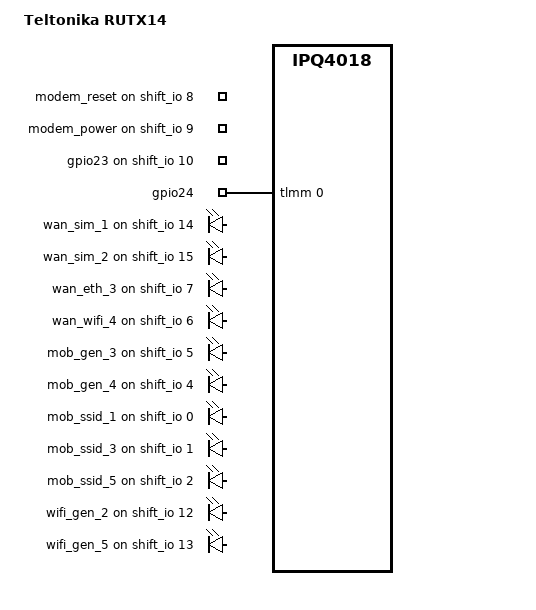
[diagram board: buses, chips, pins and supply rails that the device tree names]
#include "qcom-ipq4018-rutx-common.dtsi"
#include "qcom-ipq4018-rutx-shiftreg.dtsi"

/ {
	model = "Teltonika RUTX14";

	soc {
		gpio-export {
			compatible = "gpio-export";
			#size-cells = <0>;

			gpio_modem_reset {
				gpio-export,name = "modem_reset";
				gpio-export,output = <0>;
				gpios = <&shift_io 8 GPIO_ACTIVE_HIGH>;
			};

			gpio_modem_power {
				gpio-export,name = "modem_power";
				gpio-export,output = <0>;
				gpios = <&shift_io 9 GPIO_ACTIVE_HIGH>;
			};

			gpio_out_1 {
				gpio-export,name = "gpio23";
				gpio-export,output = <0>;
				gpios = <&shift_io 10 GPIO_ACTIVE_HIGH>;
			};

			gpio_in_1 {
				gpio-export,name = "gpio24";
				gpio-export,input = <0>;
				gpios = <&tlmm 0 GPIO_ACTIVE_HIGH>;
			};
		};

		leds {
			compatible = "gpio-leds";

			led_wan_sim1 {
				label = "wan_sim_1";
				gpios = <&shift_io 14 GPIO_ACTIVE_HIGH>;
			};

			led_wan_sim2 {
				label = "wan_sim_2";
				gpios = <&shift_io 15 GPIO_ACTIVE_HIGH>;
			};

			led_wan_eth {
				label = "wan_eth_3";
				gpios = <&shift_io 7 GPIO_ACTIVE_HIGH>;
			};

			led_wan_wifi {
				label = "wan_wifi_4";
				gpios = <&shift_io 6 GPIO_ACTIVE_HIGH>;
			};

			led_gen_3 {
				label = "mob_gen_3";
				gpios = <&shift_io 5 GPIO_ACTIVE_HIGH>;
			};

			led_gen_4 {
				label = "mob_gen_4";
				gpios = <&shift_io 4 GPIO_ACTIVE_HIGH>;
			};

			led_ssid_1 {
				label = "mob_ssid_1";
				gpios = <&shift_io 0 GPIO_ACTIVE_HIGH>;
				linux,default-trigger = "timer";
			};

			led_ssid_3 {
				label = "mob_ssid_3";
				gpios = <&shift_io 1 GPIO_ACTIVE_HIGH>;
				linux,default-trigger = "timer";
			};

			led_ssid_5 {
				label = "mob_ssid_5";
				gpios = <&shift_io 2 GPIO_ACTIVE_HIGH>;
				linux,default-trigger = "timer";
			};

			led_wifi_24 {
				label = "wifi_gen_2";
				gpios = <&shift_io 12 GPIO_ACTIVE_HIGH>;
			};

			led_wifi_50 {
				label = "wifi_gen_5";
				gpios = <&shift_io 13 GPIO_ACTIVE_HIGH>;
			};
		};
	};
};
